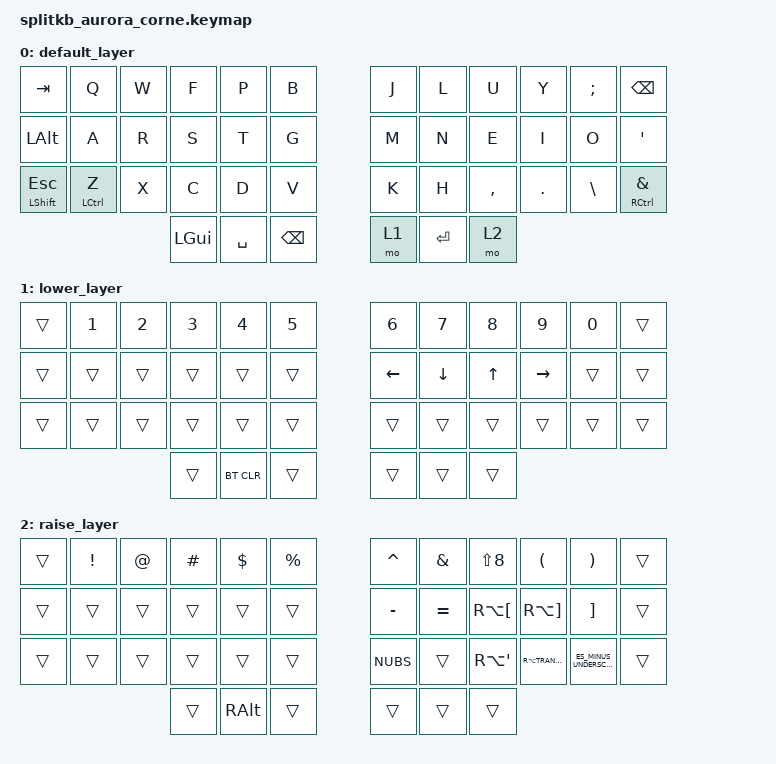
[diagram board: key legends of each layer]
/*
 * Copyright (c) 2020 The ZMK Contributors
 *
 * SPDX-License-Identifier: MIT
 */

#include <behaviors.dtsi>
#include <dt-bindings/zmk/keys.h>
#include <dt-bindings/zmk/bt.h>

/*
 * Custom definitions for es_ES.UTF-8
 */
#define C_TRANCADA BSLH
#define ES_SLH AMPS
#define ES_APOSTROPHE_QUESTION_MARK MINUS
#define ES_EXCLAMATION_INVERSE_QUESTION_MARK EQUAL
#define ES_MINUS_UNDERSCORE FSLH
#define ES_LPAR LS(N8)
#define ES_RBRC RA(RBKT)         // Square bracket
#define ES_LBRC RA(LBKT)         // Square bracket
#define ES_CRBRC RA(C_TRANCADA)  // Curly bracket
#define ES_CLBRC RA(SQT)         // Curly bracket


/*
 * Shorthand definitions es_ES.UTF-8
 */
#define ES_AP_QM MINUS
#define ES_EX_IQM EQUAL
#define ES_MNUUN ES_MINUS_UNDERSCORE

/ {
    keymap {
        compatible = "zmk,keymap";

        default_layer {
// ------------------------------------------------------------------------------------------------
// | TAB        |  Q        |  W  |  F  |  P  |  B   |   |  J  |  L   |  U  |  Y  |  Ñ  | BKSP    |
// | LALT       |  A        |  R  |  S  |  T  |  G   |   |  M  |  N   |  E  |  I  |  O  |  ´      |
// | ESC / SHFT |  LCTRL Z  |  X  |  C  |  D  |  V   |   |  K  |  H   |  ,  |  .  |  Ç  | RCTRL / |
//                                | GUI | SPC | BSPC |   | LWR | ENT  | RSE |
            bindings = <
   &kp TAB        &kp Q        &kp W &kp F     &kp P      &kp B     &kp J &kp L    &kp U      &kp Y    &kp SEMI        &kp BSPC
   &kp LALT       &kp A        &kp R &kp S     &kp T      &kp G     &kp M &kp N    &kp E      &kp I    &kp O           &kp SQT
   &mt LSHFT ESC  &mt LCTRL Z  &kp X &kp C     &kp D      &kp V     &kp K &kp H    &kp COMMA  &kp DOT  &kp C_TRANCADA  &mt RCTRL ES_SLH
                                     &kp LGUI  &kp SPACE  &kp BSPC  &mo 1 &kp RET  &mo 2
            >;
        };

        lower_layer {
// --------------------------------------------------------------------------------------
// | TAB        |  1  |  2  |  3  |  4  |  5   |   |  6  |  7  |  8  |  9  |  0  | BKSP    |
// | LALT       |     |     |     |     |      |   | LFT | DWN |  UP | RGT |     |  ´      |
// | ESC / SHFT |     |     |     |     |      |   |     |     |     |     |     | RCTRL / |
//                          | GUI | SPC | BSPC |   | LWR | ENT | RSE |
            bindings = <
   &trans  &kp N1  &kp N2  &kp N3  &kp N4  &kp N5      &kp N6    &kp N7    &kp N8  &kp N9      &kp N0  &trans
   &trans  &trans  &trans  &trans  &trans  &trans      &kp LEFT  &kp DOWN  &kp UP  &kp RIGHT   &trans  &trans
   &trans  &trans  &trans  &trans  &trans  &trans      &trans    &trans    &trans  &trans      &trans  &trans
                                   &trans  &bt BT_CLR  &trans    &trans    &trans  &trans
            >;
        };

        raise_layer {
// ------------------------------------------------------------------------------------------
// | TAB        |  !  |  "  |  ·  |  $   |  %   |   |  &  |  /  |  (  |  )  |  =  | BKSP    |
// | LALT       |     |     |     |      |      |   | ' ? | ¡ ¿ |  [  |  ]  | + * |  ´      |
// | ESC / SHFT |     |     |     |      |      |   | < > |     |  {  |  }  | - _ | RCTRL / |
//                          | GUI | RALT | BSPC |   | LWR | ENT | RSE |
            bindings = <
   &trans  &kp EXCL  &kp AT  &kp HASH  &kp DLLR  &kp PRCNT  &kp CARET     &kp AMPS       &kp ES_LPAR   &kp LPAR      &kp RPAR  &trans
   &trans  &trans    &trans  &trans    &trans    &trans     &kp ES_AP_QM  &kp ES_EX_IQM  &kp ES_LBRC   &kp ES_RBRC   &kp RBKT  &trans
   &trans  &trans    &trans  &trans    &trans    &trans     &kp NUBS      &trans         &kp ES_CLBRC  &kp ES_CRBRC  &kp ES_MNUUN  &trans
                             &trans    &kp RALT  &trans     &trans        &trans         &trans
            >;
        };
    };
};

